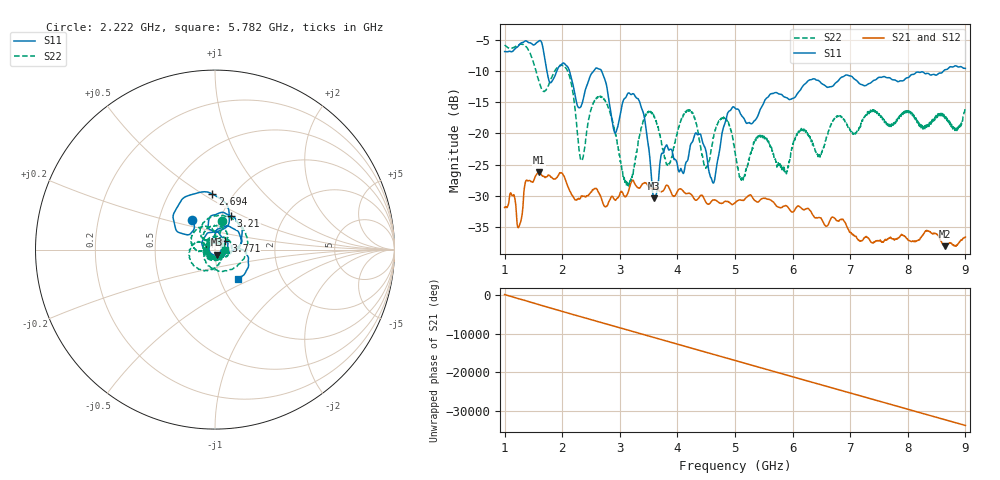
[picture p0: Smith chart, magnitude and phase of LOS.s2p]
!Keysight Technologies N9915A: A.10.33
!Date: Tuesday, 12 May 2020 14:01:56
!Timezone: (UTC+08:00) Perth
!Model: N9915A
!Serial: MY53102697
!GPS Latitude:
!GPS Longitude:
!GPS TimeStamp: 0001-01-01 00:00:00Z
!GPS Seconds Since Last Read: 0
!CHECKSUM:1499652712
!Correction: S11(ON U)S21(ON U)S12(ON U)S22(ON U)
!S2P File: Measurements:S11,S21,S12,S22:
# Hz S DB R 50
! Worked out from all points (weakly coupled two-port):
!   10001 points, 1 GHz to 9 GHz, reference 50 ohm
!   highest |S21| = -26.26 dB at 1.599 GHz (marker M1); lowest = -38.2 dB at 8.64 GHz (marker M2)
!   lowest |S11| = -30.4 dB at 3.593 GHz (marker M3), VSWR 1.06, Z = 51 - j2.88 ohm
!   |S11| at or under -10 dB: 1.735 GHz to 1.903 GHz (167.3 MHz wide, 9.2 % of centre); 2.129 GHz to 2.541 GHz (412.2 MHz wide, 17.7 % of centre); 2.687 GHz to 8.614 GHz (5.926 GHz wide, 105 % of centre)
!   |S22| runs from -28.5 to -5.6 dB; largest |S21 - S12| = 0.0022
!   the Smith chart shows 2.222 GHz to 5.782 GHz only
!   S11 on the Smith chart (normalised r, x): 2.222 GHz: 0.74, +0.25; 2.694 GHz: 0.80, +0.55; 3.21 GHz: 1.11, +0.43; 3.771 GHz: 1.12, +0.10; 5.782 GHz: 1.22, -0.42
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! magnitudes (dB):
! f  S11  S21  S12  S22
! 1 GHz  -6.8  -31.9  -31.8  -5.7
! 1.254 GHz  -5.7  -34.9  -34.9  -5.7
! 1.599 GHz  -5.1  -26.3  -26.3  -11.7
! 2.03 GHz  -8.7  -26.8  -26.9  -9.2
! 2.222 GHz  -13.7  -30.7  -30.7  -15.9
! 2.334 GHz  -15.5  -30.1  -30.2  -24.3
! 2.694 GHz  -10.2  -30.9  -30.9  -14.2
! 2.918 GHz  -19.9  -30.7  -30.8  -19.7
! 3.21 GHz  -13.6  -27.7  -27.7  -27.0
! 3.414 GHz  -16.8  -28.0  -28.1  -17.8
! 3.593 GHz  -30.4  -28.8  -28.9  -17.3
! 3.667 GHz  -28.1  -29.0  -29.1  -19.0
! 3.771 GHz  -22.7  -29.0  -29.1  -23.5
! 4.169 GHz  -24.5  -29.7  -29.7  -16.2
! 4.37 GHz  -20.1  -30.4  -30.5  -20.2
! 4.618 GHz  -28.0  -30.7  -30.8  -20.7
! 5 GHz  -15.9  -31.2  -31.3  -22.9
! 5.782 GHz  -13.6  -32.0  -32.0  -24.9
! 6.334 GHz  -11.3  -32.9  -32.9  -21.1
! 7.667 GHz  -11.0  -36.9  -37.0  -18.5
! 8.64 GHz  -9.7  -38.2  -38.2  -17.2
! 9 GHz  -9.5  -36.7  -36.9  -16.0
